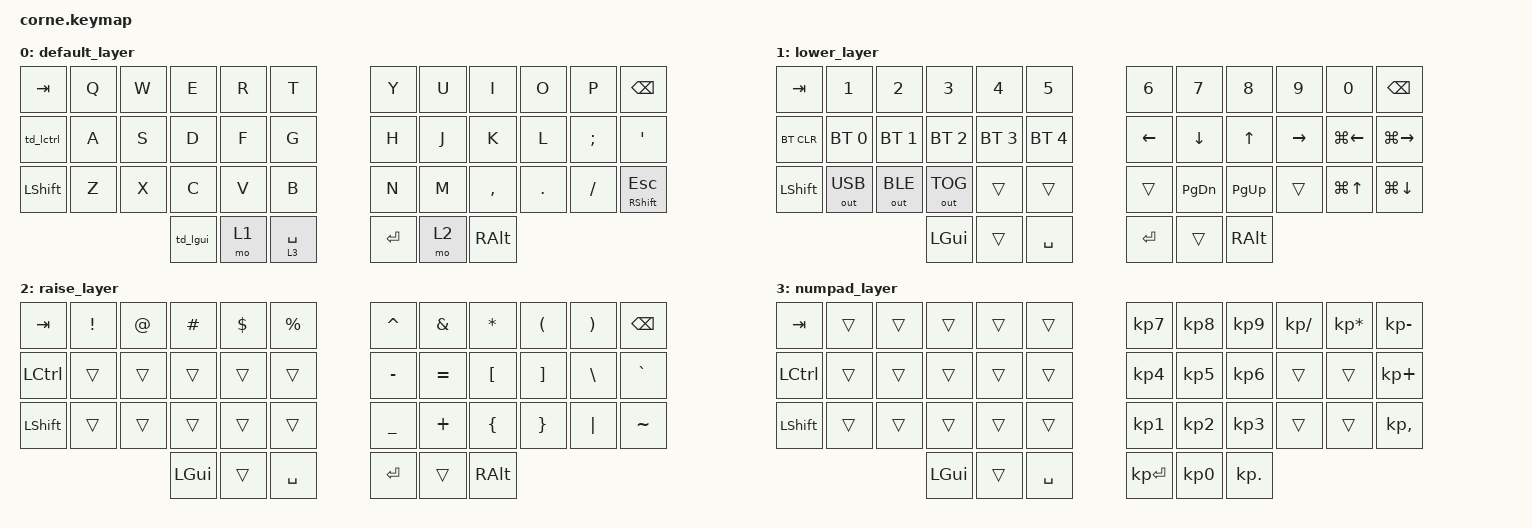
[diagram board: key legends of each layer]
/*
 * Copyright (c) 2020 The ZMK Contributors
 *
 * SPDX-License-Identifier: MIT
 */

#include <behaviors.dtsi>
#include <dt-bindings/zmk/keys.h>
#include <dt-bindings/zmk/bt.h>
#include <dt-bindings/zmk/outputs.h>

/*
 * Corne 6-columns (42 keys) Key Matrix
 * ------------------------------------
 *      ╭────────────────────────┬────────────────────────╮
 *      │  0   1   2   3   4   5 │  6   7   8   9  10  11 │
 *      │ 12  13  14  15  16  17 │ 18  19  20  21  22  23 │
 *      │ 24  25  26  27  28  29 │ 30  31  32  33  34  35 │
 *      ╰───────────╮ 36  37  38 │ 39  40  41 ╭───────────╯
 *                  ╰────────────┴────────────╯
 */

/ {
        behaviors {
                td_lgui: tap_dance_lgui {
                        compatible = "zmk,behavior-tap-dance";
                        #binding-cells = <0>;
                        tapping-term-ms = <200>;

                        bindings = <&kp LGUI>, <&kp LG(LS(N4))>;
                };

                td_lctrl: tap_dance_lctrl {
                        compatible = "zmk,behavior-tap-dance";
                        #binding-cells = <0>;
                        tapping-term-ms = <200>;

                        bindings = <&kp LCTRL>, <&kp LC(B)>; // Tmux mode
                };
        };
        combos {
                compatible = "zmk,combos";

                combo_bslh {
                        timeout-ms = <50>;
                        require-prior-idle-ms = <200>;
                        key-positions = <16 29>;
                        bindings = <&kp BSLH>;
                };
                combo_fslh {
                        timeout-ms = <50>;
                        require-prior-idle-ms = <200>;
                        key-positions = <19 30>;
                        bindings = <&kp FSLH>;
                };
                combo_prcnt {
                        timeout-ms = <50>;
                        require-prior-idle-ms = <200>;
                        key-positions = <20 31>;
                        bindings = <&kp PRCNT>;
                };
                combo_caret {
                        timeout-ms = <50>;
                        require-prior-idle-ms = <200>;
                        key-positions = <18 7 20>;
                        bindings = <&kp CARET>;
                };
                combo_equal {
                        timeout-ms = <50>;
                        require-prior-idle-ms = <200>;
                        key-positions = <6 7>;
                        bindings = <&kp EQUAL>;
                };
                combo_minus {
                        timeout-ms = <50>;
                        require-prior-idle-ms = <200>;
                        key-positions = <18 19>;
                        bindings = <&kp MINUS>;
                };
                combo_plus {
                        timeout-ms = <50>;
                        require-prior-idle-ms = <200>;
                        key-positions = <18 19 20>;
                        bindings = <&kp PLUS>;
                };
                combo_astrk {
                        timeout-ms = <50>;
                        require-prior-idle-ms = <200>;
                        key-positions = <30 31 32>;
                        bindings = <&kp ASTRK>;
                };
                combo_under {
                        timeout-ms = <50>;
                        require-prior-idle-ms = <200>;
                        key-positions = <30 31>;
                        bindings = <&kp UNDER>;
                };
                combo_tilde {
                        timeout-ms = <50>;
                        require-prior-idle-ms = <200>;
                        key-positions = <16 17>;
                        bindings = <&kp TILDE>;
                };
                combo_grave {
                        timeout-ms = <50>;
                        require-prior-idle-ms = <200>;
                        key-positions = <4 17>;
                        bindings = <&kp GRAVE>;
                };
                combo_pipe {
                        timeout-ms = <50>;
                        require-prior-idle-ms = <200>;
                        key-positions = <18 30>;
                        bindings = <&kp PIPE>;
                };
                combo_amps {
                        timeout-ms = <50>;
                        require-prior-idle-ms = <200>;
                        key-positions = <19 31>;
                        bindings = <&kp AMPS>;
                };
                combo_excl {
                        timeout-ms = <50>;
                        require-prior-idle-ms = <200>;
                        key-positions = <20 32>;
                        bindings = <&kp EXCL>;
                };
                combo_lpar {
                        timeout-ms = <50>;
                        require-prior-idle-ms = <200>;
                        key-positions = <5 17>;
                        bindings = <&kp LPAR>;
                };
                combo_rpar {
                        timeout-ms = <50>;
                        require-prior-idle-ms = <200>;
                        key-positions = <6 18>;
                        bindings = <&kp RPAR>;
                };
                combo_lbkt {
                        timeout-ms = <50>;
                        require-prior-idle-ms = <200>;
                        key-positions = <4 16>;
                        bindings = <&kp LBKT>;
                };
                combo_rbkt {
                        timeout-ms = <50>;
                        require-prior-idle-ms = <200>;
                        key-positions = <7 19>;
                        bindings = <&kp RBKT>;
                };
                combo_lbrc {
                        timeout-ms = <50>;
                        require-prior-idle-ms = <200>;
                        key-positions = <3 15>;
                        bindings = <&kp LBRC>;
                };
                combo_rbrc {
                        timeout-ms = <50>;
                        require-prior-idle-ms = <200>;
                        key-positions = <8 20>;
                        bindings = <&kp RBRC>;
                };
                combo_at {
                        timeout-ms = <50>;
                        require-prior-idle-ms = <200>;
                        key-positions = <13 5>;
                        bindings = <&kp AT>;
                };
                combo_hash {
                        timeout-ms = <50>;
                        require-prior-idle-ms = <200>;
                        key-positions = <13 14>;
                        bindings = <&kp HASH>;
                };
        };
        keymap {
                compatible = "zmk,keymap";

                default_layer {
// -----------------------------------------------------------------------------------------
// |  TAB |  Q  |  W  |  E  |  R      |  T  |   |  Y  |  U      |  I  |  O  |  P  | BSPC |
// | CTRL |  A  |  S  |  D  |  F (LS) |  G  |   |  H  |  J (RS) |  K  |  L  |  ;  |  '   |
// | SHFT |  Z  |  X  |  C  |  V      |  B  |   |  N  |  M      |  ,  |  .  |  /  | ESC  |
//                    | GUI | LWR     | SPC |   | ENT | RSE     | ALT |
                        bindings = <
   &kp TAB   &kp Q &kp W &kp E &kp R &kp T   &kp Y &kp U  &kp I     &kp O   &kp P    &kp BSPC
   &td_lctrl &kp A &kp S &kp D &kp F &kp G   &kp H &kp J  &kp K     &kp L   &kp SEMI &kp SQT
   &kp LSHFT &kp Z &kp X &kp C &kp V &kp B   &kp N &kp M  &kp COMMA &kp DOT &kp FSLH &mt RSHIFT ESC
                &td_lgui &mo 1 &lt 3 SPACE    &kp RET &mo 2 &kp RALT
                        >;
                };
                lower_layer {
// -----------------------------------------------------------------------------------------
// |  TAB |  1  |  2  |  3  |  4  |  5  |   |  6  |  7  |  8  |  9  |  0  | BSPC |
// | BTCLR| BT1 | BT2 | BT3 | BT4 | BT5 |   | LFT | DWN |  UP | RGT |     |      |
// | SHFT | USB | BLE | TOG |     |     |   |     |     |     |     |     |      |
//                    | GUI |     | SPC |   | ENT |     | ALT |
                        bindings = <
   &kp TAB    &kp N1       &kp N2       &kp N3        &kp N4       &kp N5         &kp N6   &kp N7    &kp N8    &kp N9    &kp N0       &kp BSPC
   &bt BT_CLR &bt BT_SEL 0 &bt BT_SEL 1 &bt BT_SEL 2  &bt BT_SEL 3 &bt BT_SEL 4   &kp LEFT &kp DOWN  &kp UP    &kp RIGHT &kp LG(LEFT) &kp LG(RIGHT)
   &kp LSHFT  &out OUT_USB &out OUT_BLE &out OUT_TOG  &trans       &trans         &trans   &kp PG_DN &kp PG_UP &trans    &kp LG(UP)   &kp LG(DOWN)
                                    &kp LGUI     &trans            &kp SPACE      &kp RET  &trans   &kp RALT
                        >;
                };

                raise_layer {
// -----------------------------------------------------------------------------------------
// |  TAB |  !  |  @  |  #  |  $  |  %  |   |  ^  |  &  |  *  |  (  |  )  | BSPC |
// | CTRL |     |     |     |     |     |   |  -  |  =  |  [  |  ]  |  \  |  `   |
// | SHFT |     |     |     |     |     |   |  _  |  +  |  {  |  }  | "|" |  ~   |
//                    | GUI |     | SPC |   | ENT |     | ALT |
                        bindings = <
   &kp  TAB  &kp EXCL &kp AT &kp HASH &kp DLLR &kp PRCNT   &kp CARET &kp AMPS  &kp ASTRK &kp LPAR &kp RPAR &kp BSPC
   &kp LCTRL &trans   &trans &trans   &trans   &trans      &kp MINUS &kp EQUAL &kp LBKT  &kp RBKT &kp BSLH &kp GRAVE
   &kp LSHFT &trans   &trans &trans   &trans   &trans      &kp UNDER &kp PLUS  &kp LBRC  &kp RBRC &kp PIPE &kp TILDE
                             &kp LGUI &trans   &kp SPACE   &kp RET   &trans    &kp RALT
                        >;
                };

                numpad_layer {
                        bindings = <
   &kp  TAB  &trans &trans &trans &trans &trans   &kp KP_N7 &kp KP_N8 &kp KP_N9 &kp KP_DIVIDE &kp KP_MULTIPLY &kp KP_MINUS
   &kp LCTRL &trans &trans &trans &trans &trans   &kp KP_N4 &kp KP_N5 &kp KP_N6 &trans        &trans          &kp KP_PLUS
   &kp LSHFT &trans &trans &trans &trans &trans   &kp KP_N1 &kp KP_N2 &kp KP_N3 &trans        &trans          &kp KP_COMMA
                    &kp LGUI &trans   &kp SPACE   &kp KP_ENTER &kp KP_N0  &kp KP_DOT
                        >;
                };
        };
};
